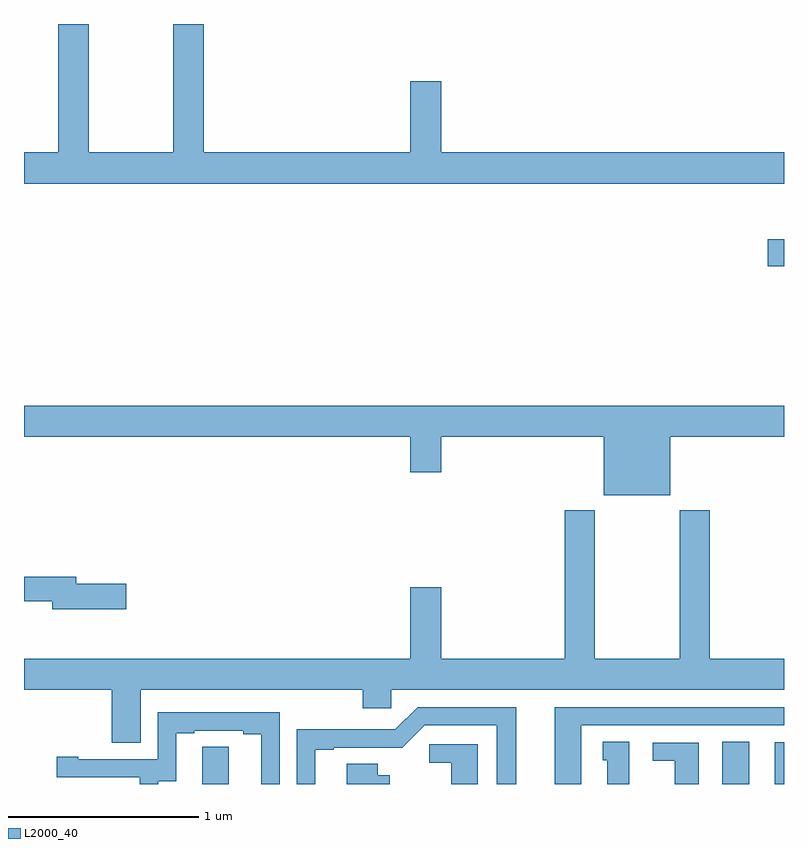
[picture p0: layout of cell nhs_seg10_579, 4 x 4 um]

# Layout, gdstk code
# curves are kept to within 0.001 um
import gdstk
lib = gdstk.Library(unit=1e-6, precision=1e-09)
def R(c, l, rs):  # rectangles x0, y0, x1, y1
    for r in rs: c.add(gdstk.rectangle(r[:2], r[2:], *l))
def P(c, l, *ps):  # polygons
    for p in ps: c.add(gdstk.Polygon(p, *l))
L2000_40 = (2000, 40)

nhs_seg10_579 = lib.new_cell('nhs_seg10_579')
R(nhs_seg10_579, L2000_40, [(142.676,1286.5,142.816,1286.723), (142.952,1286.5,143,1286.719), (142.914,1289.225,143,1289.367)])
P(nhs_seg10_579, L2000_40, [(143,1289.824),(141.196,1289.824),(141.196,1290.199),(141.032,1290.199),(141.032,1289.824),(139.946,1289.824),(139.946,1290.5),(139.786,1290.5),(139.786,1289.824),(139.341,1289.824),(139.341,1290.5),(139.181,1290.5),(139.181,1289.824),(139,1289.824),(139,1289.66),(143,1289.66)],
  [(142.402,1288.328),(143,1288.328),(143,1288.492),(139,1288.492),(139,1288.328),(141.032,1288.328),(141.032,1288.14),(141.196,1288.14),(141.196,1288.328),(142.052,1288.328),(142.052,1288.019),(142.402,1288.019)],
  [(143,1287.16),(142.61,1287.16),(142.61,1287.94),(142.45,1287.94),(142.45,1287.16),(142.005,1287.16),(142.005,1287.94),(141.845,1287.94),(141.845,1287.16),(141.196,1287.16),(141.196,1287.535),(141.032,1287.535),(141.032,1287.16),(139,1287.16),(139,1286.996),(139.463,1286.996),(139.463,1286.716),(139.615,1286.716),(139.615,1286.996),(140.783,1286.996),(140.783,1286.898),(140.934,1286.898),(140.934,1286.996),(143,1286.996)],
  [(139.537,1287.554),(139.276,1287.554),(139.276,1287.59),(139,1287.59),(139,1287.462),(139.148,1287.462),(139.148,1287.419),(139.537,1287.419)],
  [(140.533,1286.679),(140.629,1286.679),(140.629,1286.691),(140.99,1286.69),(141.108,1286.808),(141.488,1286.808),(141.488,1286.5),(141.592,1286.5),(141.592,1286.904),(141.072,1286.904),(140.955,1286.787),(140.699,1286.787),(140.699,1286.789),(140.436,1286.789),(140.436,1286.5),(140.533,1286.5)],
  [(141.934,1286.808),(143,1286.808),(143,1286.904),(141.794,1286.904),(141.794,1286.5),(141.934,1286.5)],
  [(139.707,1286.515),(139.801,1286.515),(139.801,1286.766),(139.897,1286.766),(139.897,1286.781),(140.153,1286.781),(140.153,1286.761),(140.249,1286.761),(140.249,1286.5),(140.346,1286.5),(140.346,1286.877),(139.704,1286.877),(139.704,1286.631),(139.285,1286.631),(139.285,1286.644),(139.173,1286.644),(139.173,1286.535),(139.608,1286.535),(139.608,1286.5),(139.707,1286.5)],
  [(142.186,1286.723),(142.046,1286.723),(142.046,1286.625),(142.07,1286.625),(142.07,1286.5),(142.186,1286.5)],
  [(142.552,1286.718),(142.308,1286.718),(142.308,1286.622),(142.424,1286.622),(142.424,1286.5),(142.552,1286.5)],
  [(141.388,1286.709),(141.132,1286.709),(141.132,1286.612),(141.248,1286.612),(141.248,1286.5),(141.388,1286.5)],
  [(140.077,1286.696),(139.938,1286.696),(139.938,1286.588),(139.937,1286.588),(139.937,1286.5),(140.077,1286.5)],
  [(140.926,1286.545),(140.863,1286.545),(140.863,1286.606),(140.699,1286.606),(140.699,1286.5),(140.926,1286.5)])

lib.write_gds('nhs_seg10_579.gds')
